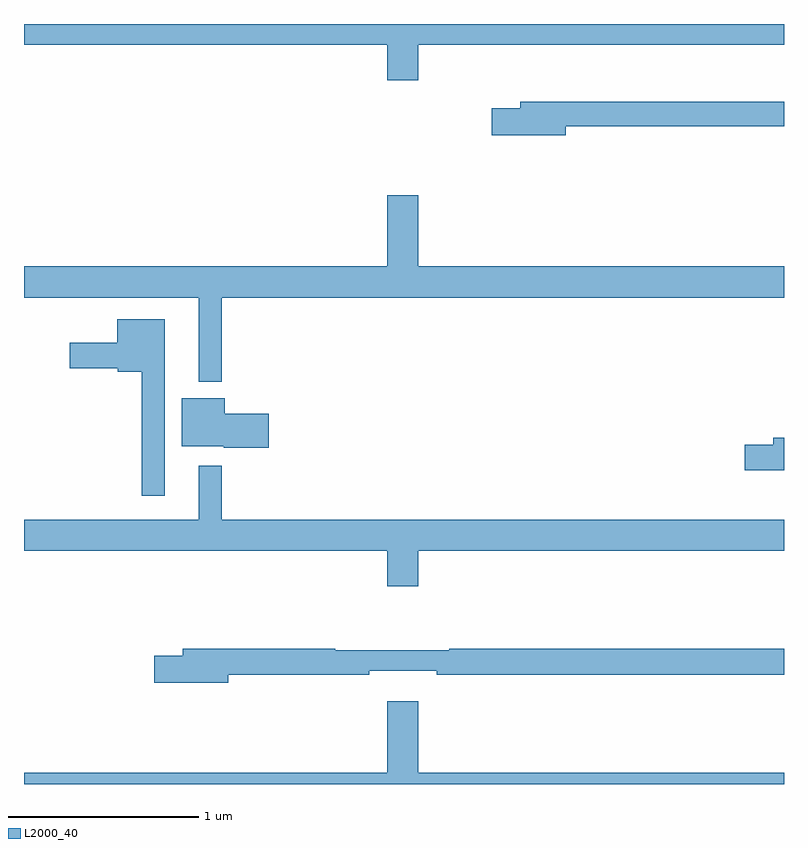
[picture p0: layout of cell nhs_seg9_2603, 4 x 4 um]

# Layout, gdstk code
import gdstk
lib = gdstk.Library(unit=1e-6, precision=1e-09)
def P(c, l, *ps):  # polygons
    for p in ps: c.add(gdstk.Polygon(p, *l))
L2000_40 = (2000, 40)

nhs_seg9_2603 = lib.new_cell('nhs_seg9_2603')
P(nhs_seg9_2603, L2000_40, [(261.076,1224.392),(263,1224.392),(263,1224.5),(259,1224.5),(259,1224.392),(260.912,1224.392),(260.912,1224.204),(261.076,1224.204)],
  [(261.85,1223.962),(263,1223.962),(263,1224.091),(261.611,1224.091),(261.611,1224.057),(261.462,1224.057),(261.462,1223.915),(261.85,1223.915)],
  [(260.041,1223.06),(263,1223.06),(263,1223.224),(261.076,1223.224),(261.076,1223.599),(260.912,1223.599),(260.912,1223.224),(259,1223.224),(259,1223.06),(259.919,1223.06),(259.919,1222.616),(260.041,1222.616)],
  [(259.741,1222.945),(259.49,1222.945),(259.49,1222.822),(259.242,1222.822),(259.242,1222.688),(259.494,1222.688),(259.494,1222.67),(259.62,1222.67),(259.62,1222.017),(259.741,1222.017)],
  [(260.287,1222.448),(260.056,1222.448),(260.056,1222.531),(259.829,1222.531),(259.829,1222.277),(260.052,1222.277),(260.052,1222.27),(260.287,1222.27)],
  [(263,1222.322),(262.943,1222.322),(262.943,1222.286),(262.794,1222.286),(262.794,1222.151),(263,1222.151)],
  [(261.076,1221.728),(263,1221.728),(263,1221.892),(260.041,1221.892),(260.041,1222.174),(259.919,1222.174),(259.919,1221.892),(259,1221.892),(259,1221.728),(260.912,1221.728),(260.912,1221.54),(261.076,1221.54)],
  [(260.074,1221.076),(260.816,1221.076),(260.816,1221.095),(261.172,1221.095),(261.172,1221.076),(263,1221.076),(263,1221.212),(261.239,1221.212),(261.239,1221.205),(260.639,1221.205),(260.639,1221.212),(259.835,1221.212),(259.835,1221.176),(259.686,1221.176),(259.686,1221.034),(260.074,1221.034)],
  [(263,1220.56),(261.076,1220.56),(261.076,1220.935),(260.912,1220.935),(260.912,1220.56),(259,1220.56),(259,1220.5),(263,1220.5)])

lib.write_gds('nhs_seg9_2603.gds')
